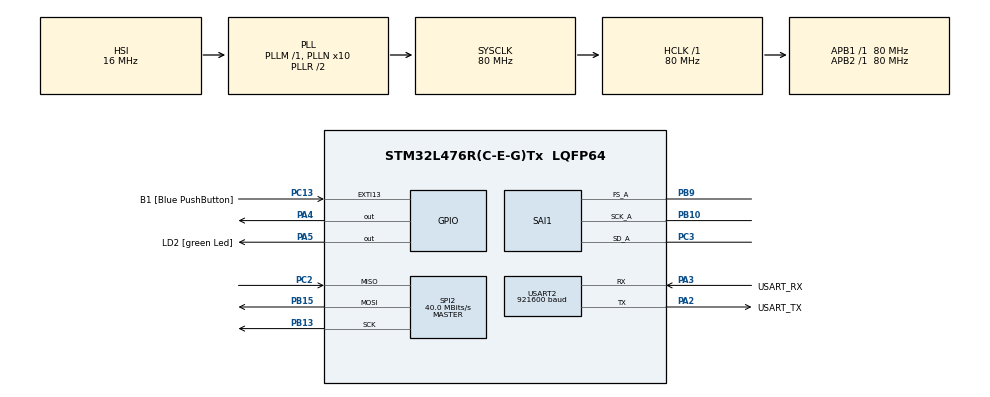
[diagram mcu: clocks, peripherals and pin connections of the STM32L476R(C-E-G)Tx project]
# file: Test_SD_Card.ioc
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Dma.Request0=SAI1_A
Dma.SAI1_A.0.Direction=DMA_PERIPH_TO_MEMORY
Dma.SAI1_A.0.Instance=DMA2_Channel1
Dma.SAI1_A.0.MemDataAlignment=DMA_MDATAALIGN_WORD
Dma.SAI1_A.0.MemInc=DMA_MINC_ENABLE
Dma.SAI1_A.0.Mode=DMA_CIRCULAR
Dma.SAI1_A.0.PeriphDataAlignment=DMA_PDATAALIGN_WORD
Dma.SAI1_A.0.PeriphInc=DMA_PINC_DISABLE
Dma.SAI1_A.0.Priority=DMA_PRIORITY_HIGH
Mcu.Family=STM32L4
Mcu.Name=STM32L476R(C-E-G)Tx
Mcu.Package=LQFP64
NVIC.DMA2_Channel1_IRQn=true\:0\:0\:false\:false\:true\:false\:true\:true
NVIC.EXTI15_10_IRQn=true\:0\:0\:false\:false\:true\:true\:true\:true
NVIC.PriorityGroup=NVIC_PRIORITYGROUP_4
PA13\ (JTMS-SWDIO).GPIO_Label=TMS
PA13\ (JTMS-SWDIO).Mode=Serial_Wire
PA13\ (JTMS-SWDIO).Signal=SYS_JTMS-SWDIO
PA14\ (JTCK-SWCLK).GPIO_Label=TCK
PA14\ (JTCK-SWCLK).Mode=Serial_Wire
PA14\ (JTCK-SWCLK).Signal=SYS_JTCK-SWCLK
PA2.GPIO_Label=USART_TX
PA2.GPIO_Mode=GPIO_MODE_AF_PP
PA2.GPIO_PuPd=GPIO_NOPULL
PA2.GPIO_Speed=GPIO_SPEED_FREQ_VERY_HIGH
PA2.Mode=Asynchronous
PA2.Signal=USART2_TX
PA3.GPIO_Label=USART_RX
PA3.GPIO_Mode=GPIO_MODE_AF_PP
PA3.GPIO_PuPd=GPIO_NOPULL
PA3.GPIO_Speed=GPIO_SPEED_FREQ_VERY_HIGH
PA3.Mode=Asynchronous
PA3.Signal=USART2_RX
PA4.Signal=GPIO_Output
PA5.GPIO_Label=LD2 [green Led]
PA5.GPIO_ModeDefaultOutputPP=GPIO_MODE_OUTPUT_PP
PA5.GPIO_PuPd=GPIO_NOPULL
PA5.GPIO_Speed=GPIO_SPEED_FREQ_LOW
PA5.Signal=GPIO_Output
PB10.Mode=SAI_A_Master
PB10.Signal=SAI1_SCK_A
PB13.Mode=Full_Duplex_Master
PB13.Signal=SPI2_SCK
PB15.Mode=Full_Duplex_Master
PB15.Signal=SPI2_MOSI
PB3\ (JTDO-TRACESWO).GPIO_Label=SWO
PB3\ (JTDO-TRACESWO).Signal=SYS_JTDO-SWO
PB9.Mode=SAI_A_Master
PB9.Signal=SAI1_FS_A
PC13.GPIO_Label=B1 [Blue PushButton]
PC13.Signal=GPXTI13
PC14-OSC32_IN\ (PC14).Mode=LSE-External-Oscillator
PC14-OSC32_IN\ (PC14).Signal=RCC_OSC32_IN
PC15-OSC32_OUT\ (PC15).Mode=LSE-External-Oscillator
PC15-OSC32_OUT\ (PC15).Signal=RCC_OSC32_OUT
PC2.Mode=Full_Duplex_Master
PC2.Signal=SPI2_MISO
PC3.Mode=SAI_A_Master
PC3.Signal=SAI1_SD_A
PH0-OSC_IN\ (PH0).Signal=RCC_OSC_IN
PH1-OSC_OUT\ (PH1).Signal=RCC_OSC_OUT
ProjectManager.HeapSize=0x200
ProjectManager.StackSize=0x400
ProjectManager.TargetToolchain=STM32CubeIDE
RCC.ADCFreq_Value=64000000
RCC.AHBFreq_Value=80000000
RCC.APB1Freq_Value=80000000
RCC.APB1TimFreq_Value=80000000
RCC.APB2Freq_Value=80000000
RCC.APB2TimFreq_Value=80000000
RCC.CortexFreq_Value=80000000
RCC.HCLKFreq_Value=80000000
RCC.HSE_VALUE=8000000
RCC.HSI_VALUE=16000000
RCC.MSI_VALUE=4000000
RCC.PLLN=10
RCC.PLLSourceVirtual=RCC_PLLSOURCE_HSI
RCC.PREFETCH_ENABLE=1
RCC.SYSCLKFreq_VALUE=80000000
RCC.SYSCLKSource=RCC_SYSCLKSOURCE_PLLCLK
RCC.USBFreq_Value=64000000
RCC.VCOOutputFreq_Value=160000000
SAI1.AudioFrequency-SAI_A_Master=SAI_AUDIO_FREQUENCY_8K
SAI1.AudioMode-SAI_A_Master=SAI_MODEMASTER_RX
SAI1.BasicDataSize-SAI_A_Master=SAI_PROTOCOL_DATASIZE_32BIT
SAI1.ErrorAudioFreq-SAI_A_Master=11.6 %
SAI1.InitProtocol-SAI_A_Master=Enable
SAI1.Instance-SAI_A_Master=SAI$Index_Block_A
SAI1.MClockEnable-SAI_A_Master=SAI_MASTERCLOCK_DISABLE
SAI1.MonoStereoMode-SAI_A_Master=SAI_MONOMODE
SAI1.RealAudioFreq-SAI_A_Master=8.928 KHz
SAI1.VirtualMode-SAI_A_Master=VM_MASTER
SAI1.VirtualProtocol-SAI_A_BASIC=VM_BASIC_PROTOCOL
SPI2.CalculateBaudRate=40.0 MBits/s
SPI2.DataSize=SPI_DATASIZE_8BIT
SPI2.Direction=SPI_DIRECTION_2LINES
SPI2.Mode=SPI_MODE_MASTER
SPI2.VirtualType=VM_MASTER
USART2.BaudRate=921600
USART2.VirtualMode-Asynchronous=VM_ASYNC
VP_FATFS_VS_Generic.Mode=User_defined
VP_SAI1_VP_$IpInstance_SAIA_SAI_BASIC.Mode=SAI_A_BASIC
board=NUCLEO-L476RG

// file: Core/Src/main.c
/* USER CODE BEGIN Header */
/**
  ******************************************************************************
  * @file           : main.c
  * @brief          : Main program body
  ******************************************************************************
  * @attention
  *
  * Copyright (c) 2026 STMicroelectronics.
  * All rights reserved.
  *
  * This software is licensed under terms that can be found in the LICENSE file
  * in the root directory of this software component.
  * If no LICENSE file comes with this software, it is provided AS-IS.
  *
  ******************************************************************************
  */
/* USER CODE END Header */
#include "main.h"
#include "fatfs.h"

/* USER CODE BEGIN Includes */
#include <stdio.h>
#include <string.h>
/* USER CODE END Includes */

SAI_HandleTypeDef hsai_BlockA1;
DMA_HandleTypeDef hdma_sai1_a;

SPI_HandleTypeDef hspi2;

UART_HandleTypeDef huart2;

/* USER CODE BEGIN PV */
uint32_t micBuffer[512];
int16_t pcm16[512];

volatile uint8_t recording = 0;
volatile uint32_t lastButtonTime = 0;
/* USER CODE END PV */

void SystemClock_Config(void);
static void MX_GPIO_Init(void);
static void MX_DMA_Init(void);
static void MX_SAI1_Init(void);
static void MX_USART2_UART_Init(void);
static void MX_SPI2_Init(void);

int main(void)
{

  /* MCU Configuration--------------------------------------------------------*/

  /* Reset of all peripherals, Initializes the Flash interface and the Systick. */
  HAL_Init();

  /* Configure the system clock */
  SystemClock_Config();

  /* Initialize all configured peripherals */
  MX_GPIO_Init();
  MX_DMA_Init();
  MX_SAI1_Init();
  MX_USART2_UART_Init();
  MX_SPI2_Init();
  MX_FATFS_Init();
  /* USER CODE BEGIN 2 */

  HAL_SAI_Receive_DMA(&hsai_BlockA1, (uint8_t*)micBuffer, 512);
  /* USER CODE END 2 */

  /* Infinite loop */
  /* USER CODE BEGIN WHILE */
  while (1)
  {
	  HAL_Delay(100);
    /* USER CODE END WHILE */

  }
}

void SystemClock_Config(void)
{
  RCC_OscInitTypeDef RCC_OscInitStruct = {0};
  RCC_ClkInitTypeDef RCC_ClkInitStruct = {0};

  /** Configure the main internal regulator output voltage
  */
  if (HAL_PWREx_ControlVoltageScaling(PWR_REGULATOR_VOLTAGE_SCALE1) != HAL_OK)
  {
    Error_Handler();
  }

  /** Initializes the RCC Oscillators according to the specified parameters
  * in the RCC_OscInitTypeDef structure.
  */
  RCC_OscInitStruct.OscillatorType = RCC_OSCILLATORTYPE_HSI;
  RCC_OscInitStruct.HSIState = RCC_HSI_ON;
  RCC_OscInitStruct.HSICalibrationValue = RCC_HSICALIBRATION_DEFAULT;
  RCC_OscInitStruct.PLL.PLLState = RCC_PLL_ON;
  RCC_OscInitStruct.PLL.PLLSource = RCC_PLLSOURCE_HSI;
  RCC_OscInitStruct.PLL.PLLM = 1;
  RCC_OscInitStruct.PLL.PLLN = 10;
  RCC_OscInitStruct.PLL.PLLP = RCC_PLLP_DIV7;
  RCC_OscInitStruct.PLL.PLLQ = RCC_PLLQ_DIV2;
  RCC_OscInitStruct.PLL.PLLR = RCC_PLLR_DIV2;
  if (HAL_RCC_OscConfig(&RCC_OscInitStruct) != HAL_OK)
  {
    Error_Handler();
  }

  /** Initializes the CPU, AHB and APB buses clocks
  */
  RCC_ClkInitStruct.ClockType = RCC_CLOCKTYPE_HCLK|RCC_CLOCKTYPE_SYSCLK
                              |RCC_CLOCKTYPE_PCLK1|RCC_CLOCKTYPE_PCLK2;
  RCC_ClkInitStruct.SYSCLKSource = RCC_SYSCLKSOURCE_PLLCLK;
  RCC_ClkInitStruct.AHBCLKDivider = RCC_SYSCLK_DIV1;
  RCC_ClkInitStruct.APB1CLKDivider = RCC_HCLK_DIV1;
  RCC_ClkInitStruct.APB2CLKDivider = RCC_HCLK_DIV1;

  if (HAL_RCC_ClockConfig(&RCC_ClkInitStruct, FLASH_LATENCY_4) != HAL_OK)
  {
    Error_Handler();
  }
}

static void MX_SAI1_Init(void)
{

  hsai_BlockA1.Instance = SAI1_Block_A;
  hsai_BlockA1.Init.AudioMode = SAI_MODEMASTER_RX;
  hsai_BlockA1.Init.Synchro = SAI_ASYNCHRONOUS;
  hsai_BlockA1.Init.OutputDrive = SAI_OUTPUTDRIVE_DISABLE;
  hsai_BlockA1.Init.NoDivider = SAI_MASTERDIVIDER_ENABLE;
  hsai_BlockA1.Init.FIFOThreshold = SAI_FIFOTHRESHOLD_EMPTY;
  hsai_BlockA1.Init.AudioFrequency = SAI_AUDIO_FREQUENCY_8K;
  hsai_BlockA1.Init.SynchroExt = SAI_SYNCEXT_DISABLE;
  hsai_BlockA1.Init.MonoStereoMode = SAI_MONOMODE;
  hsai_BlockA1.Init.CompandingMode = SAI_NOCOMPANDING;
  if (HAL_SAI_InitProtocol(&hsai_BlockA1, SAI_I2S_STANDARD, SAI_PROTOCOL_DATASIZE_32BIT, 2) != HAL_OK)
  {
    Error_Handler();
  }

}

static void MX_SPI2_Init(void)
{

  /* SPI2 parameter configuration*/
  hspi2.Instance = SPI2;
  hspi2.Init.Mode = SPI_MODE_MASTER;
  hspi2.Init.Direction = SPI_DIRECTION_2LINES;
  hspi2.Init.DataSize = SPI_DATASIZE_8BIT;
  hspi2.Init.CLKPolarity = SPI_POLARITY_LOW;
  hspi2.Init.CLKPhase = SPI_PHASE_1EDGE;
  hspi2.Init.NSS = SPI_NSS_SOFT;
  hspi2.Init.BaudRatePrescaler = SPI_BAUDRATEPRESCALER_2;
  hspi2.Init.FirstBit = SPI_FIRSTBIT_MSB;
  hspi2.Init.TIMode = SPI_TIMODE_DISABLE;
  hspi2.Init.CRCCalculation = SPI_CRCCALCULATION_DISABLE;
  hspi2.Init.CRCPolynomial = 7;
  hspi2.Init.CRCLength = SPI_CRC_LENGTH_DATASIZE;
  hspi2.Init.NSSPMode = SPI_NSS_PULSE_ENABLE;
  if (HAL_SPI_Init(&hspi2) != HAL_OK)
  {
    Error_Handler();
  }

}

static void MX_USART2_UART_Init(void)
{

  huart2.Instance = USART2;
  huart2.Init.BaudRate = 921600;
  huart2.Init.WordLength = UART_WORDLENGTH_8B;
  huart2.Init.StopBits = UART_STOPBITS_1;
  huart2.Init.Parity = UART_PARITY_NONE;
  huart2.Init.Mode = UART_MODE_TX_RX;
  huart2.Init.HwFlowCtl = UART_HWCONTROL_NONE;
  huart2.Init.OverSampling = UART_OVERSAMPLING_16;
  huart2.Init.OneBitSampling = UART_ONE_BIT_SAMPLE_DISABLE;
  huart2.AdvancedInit.AdvFeatureInit = UART_ADVFEATURE_NO_INIT;
  if (HAL_UART_Init(&huart2) != HAL_OK)
  {
    Error_Handler();
  }

}

static void MX_DMA_Init(void)
{

  /* DMA controller clock enable */
  __HAL_RCC_DMA2_CLK_ENABLE();

  /* DMA interrupt init */
  /* DMA2_Channel1_IRQn interrupt configuration */
  HAL_NVIC_SetPriority(DMA2_Channel1_IRQn, 0, 0);
  HAL_NVIC_EnableIRQ(DMA2_Channel1_IRQn);

}

static void MX_GPIO_Init(void)
{
  GPIO_InitTypeDef GPIO_InitStruct = {0};

  /* GPIO Ports Clock Enable */
  __HAL_RCC_GPIOC_CLK_ENABLE();
  __HAL_RCC_GPIOH_CLK_ENABLE();
  __HAL_RCC_GPIOA_CLK_ENABLE();
  __HAL_RCC_GPIOB_CLK_ENABLE();

  /*Configure GPIO pin Output Level */
  HAL_GPIO_WritePin(GPIOA, GPIO_PIN_4|LD2_Pin, GPIO_PIN_RESET);

  /*Configure GPIO pin : B1_Pin */
  GPIO_InitStruct.Pin = B1_Pin;
  GPIO_InitStruct.Mode = GPIO_MODE_IT_RISING;
  GPIO_InitStruct.Pull = GPIO_NOPULL;
  HAL_GPIO_Init(B1_GPIO_Port, &GPIO_InitStruct);

  /*Configure GPIO pins : PA4 LD2_Pin */
  GPIO_InitStruct.Pin = GPIO_PIN_4|LD2_Pin;
  GPIO_InitStruct.Mode = GPIO_MODE_OUTPUT_PP;
  GPIO_InitStruct.Pull = GPIO_NOPULL;
  GPIO_InitStruct.Speed = GPIO_SPEED_FREQ_LOW;
  HAL_GPIO_Init(GPIOA, &GPIO_InitStruct);

  /* EXTI interrupt init*/
  HAL_NVIC_SetPriority(EXTI15_10_IRQn, 0, 0);
  HAL_NVIC_EnableIRQ(EXTI15_10_IRQn);

}

/* USER CODE BEGIN 4 */

void HAL_GPIO_EXTI_Callback(uint16_t GPIO_Pin)
{
    if (GPIO_Pin == B1_Pin)
    {
        uint32_t now = HAL_GetTick();

        if (now - lastButtonTime > 300)
        {
            lastButtonTime = now;
            recording = !recording;

            if (recording)
            {
                char msg[] = "START\r\n";

                HAL_UART_Transmit(&huart2,
                                  (uint8_t*)msg,
                                  strlen(msg),
                                  HAL_MAX_DELAY);
            }
            else
            {
                char msg[] = "STOP\r\n";

                HAL_UART_Transmit(&huart2,
                                  (uint8_t*)msg,
                                  strlen(msg),
                                  HAL_MAX_DELAY);
            }
        }
    }
}

void HAL_SAI_RxCpltCallback(SAI_HandleTypeDef *hsai)
{
    if (!recording)
    {
        return;
    }

    for (int i = 0; i < 512; i++)
    {
        pcm16[i] = (int16_t)((int32_t)micBuffer[i] >> 13);
    }

    HAL_UART_Transmit(&huart2,
                      (uint8_t*)pcm16,
                      sizeof(pcm16),
                      HAL_MAX_DELAY);
}
/* USER CODE END 4 */

void Error_Handler(void)
{
  __disable_irq();
  while (1)
  {
  }
}
